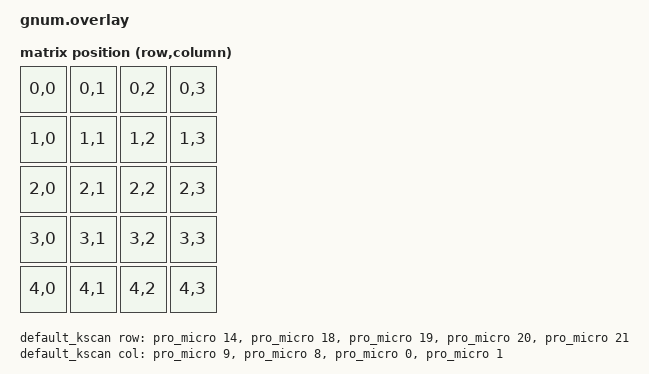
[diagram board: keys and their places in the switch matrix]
#include <dt-bindings/zmk/matrix_transform.h>

/ {
    chosen {
        zmk,kscan = &default_kscan;
        zmk,matrix_transform = &default_transform;
    };

    default_kscan: kscan {
        compatible = "zmk,kscan-gpio-matrix";
        label = "default_kscan";
        diode-direction = "col2row";

        row-gpios = <&pro_micro 14 (GPIO_ACTIVE_HIGH | GPIO_PULL_DOWN)>,
                    <&pro_micro 18 (GPIO_ACTIVE_HIGH | GPIO_PULL_DOWN)>,
                    <&pro_micro 19 (GPIO_ACTIVE_HIGH | GPIO_PULL_DOWN)>,
                    <&pro_micro 20 (GPIO_ACTIVE_HIGH | GPIO_PULL_DOWN)>,
                    <&pro_micro 21 (GPIO_ACTIVE_HIGH | GPIO_PULL_DOWN)>;


        col-gpios = <&pro_micro 9 GPIO_ACTIVE_HIGH>,
                    <&pro_micro 8 GPIO_ACTIVE_HIGH>,
                    <&pro_micro 0 GPIO_ACTIVE_HIGH>,
                    <&pro_micro 1 GPIO_ACTIVE_HIGH>;
                    
    };

    default_transform: matrix_transform {
        compatible = "zmk,matrix-transform";
        rows = <5>;
        columns = <4>;

        map = <
        //   Key 1 | Key 2 | Key 3  | Key 4
            RC(0,0) RC(0,1) RC(0,2)  RC(0,3)
        //   Key 5 | Key 6 | Key 7  | Key 8
            RC(1,0) RC(1,1) RC(1,2)  RC(1,3)
        //   Key 9 | Key 10| Key 11 | Key 12
            RC(2,0) RC(2,1) RC(2,2)  RC(2,3)
        //   Key 13| Key 14| Key 15 | Key 16
            RC(3,0) RC(3,1) RC(3,2)  RC(3,3)
        //   Key 17| Key 18| Key 19 | Key 20
            RC(4,0) RC(4,1) RC(4,2)  RC(4,3)
        >;
    };
};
